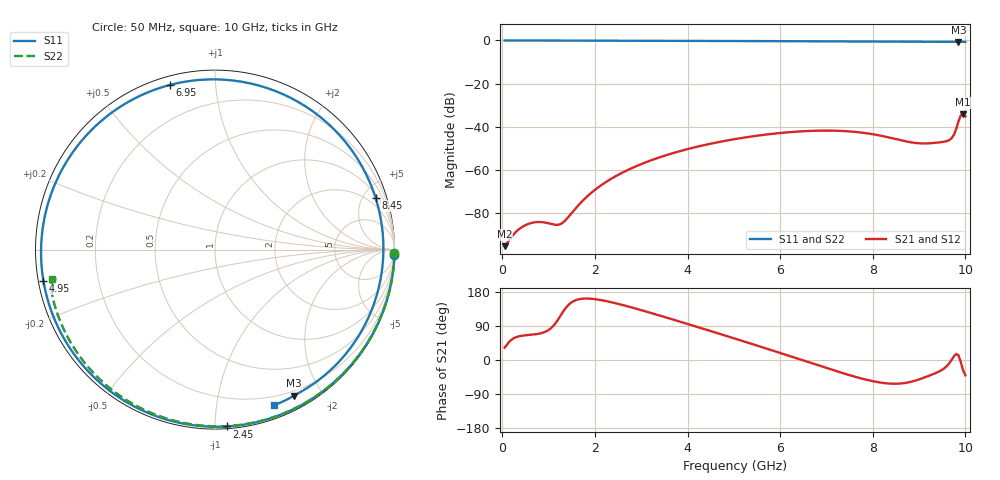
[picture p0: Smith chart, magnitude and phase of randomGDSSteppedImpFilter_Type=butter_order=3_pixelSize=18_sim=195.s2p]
! freq	dB(S11)	phase(S11)	dB(S12)	phase(S12)
!  dB(S21)	phase(S21)	dB(S22)	phase(S22)
!S-par simulation data
#  GHz  S  DB  R 50
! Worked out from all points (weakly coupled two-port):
!   200 points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, 50 MHz to 10 GHz, reference 50 ohm
!   highest |S21| = -34.39 dB at 9.95 GHz (marker M1); lowest = -95.6 dB at 50 MHz (marker M2)
!   lowest |S11| = -0.7 dB at 9.85 GHz (marker M3), VSWR 25.81, Z = 7.37 - j83.5 ohm
!   |S11| at or under -10 dB: nowhere
!   |S22| runs from -0.9 to 0.0 dB; largest |S21 - S12| = 0
!   S11 on the Smith chart (normalised r, x): 50 MHz: 0, -63; 2.45 GHz: 0.01, -1.07; 4.95 GHz: 0.01, -0.09; 6.95 GHz: 0.04, +0.76; 8.45 GHz: 1.24, +6.13; 10 GHz: 0.12, -1.45
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0.05  -0.00 -1.8  -95.58 32.6  -95.58 32.6  -0.00 -1.0
0.75  -0.03 -27.3  -84.37 68.4  -84.37 68.4  -0.02 -14.6
1.5  -0.07 -53.8  -80.14 152.5  -80.14 152.5  -0.04 -28.9
1.75  -0.08 -62.5  -74.16 161.9  -74.16 161.9  -0.04 -33.6
2.45  -0.11 -86.2  -63.05 149.7  -63.05 149.7  -0.06 -46.6
3.4  -0.15 -117.4  -54.27 117.3  -54.27 117.3  -0.08 -63.6
4.25  -0.20 -145.5  -49.16 85.8  -49.16 85.8  -0.11 -78.3
4.95  -0.25 -169.6  -46.10 59.3  -46.10 59.3  -0.14 -90.0
5.05  -0.26 -173.2  -45.73 55.5  -45.73 55.5  -0.14 -91.7
5.9  -0.33 154.1  -43.22 22.5  -43.22 22.5  -0.18 -105.4
6.7  -0.41 118.0  -41.98 -9.3  -41.98 -9.3  -0.23 -118.1
6.95  -0.43 105.3  -41.88 -19.2  -41.88 -19.2  -0.25 -122.0
7.65  -0.49 66.5  -42.55 -45.3  -42.55 -45.3  -0.30 -133.0
8.35  -0.53 24.0  -45.07 -62.1  -45.07 -62.1  -0.37 -144.0
8.45  -0.54 17.8  -45.57 -62.7  -45.57 -62.7  -0.38 -145.6
9  -0.57 -15.3  -47.78 -51.3  -47.78 -51.3  -0.44 -154.4
9.6  -0.64 -48.8  -46.76 -16.0  -46.76 -16.0  -0.52 -164.6
9.75  -0.66 -56.6  -43.89 9.3  -43.89 9.3  -0.59 -167.4
9.85  -0.67 -61.6  -37.66 12.7  -37.66 12.7  -0.76 -169.3
9.9  -0.66 -64.0  -34.80 -5.2  -34.80 -5.2  -0.87 -169.4
9.95  -0.66 -66.6  -34.39 -27.2  -34.39 -27.2  -0.82 -169.2
10  -0.66 -69.1  -35.29 -40.5  -35.29 -40.5  -0.72 -169.8
